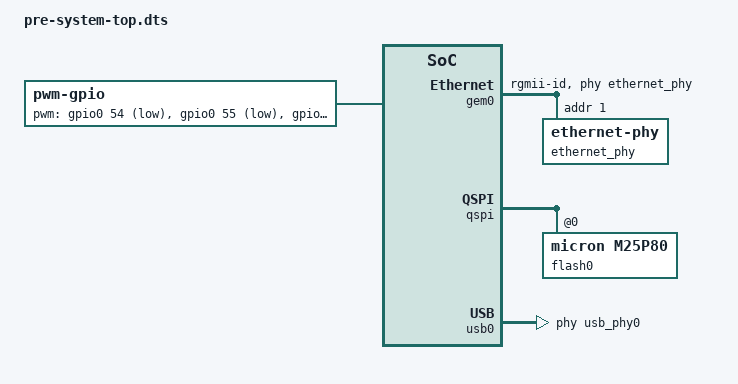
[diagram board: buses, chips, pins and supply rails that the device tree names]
# 1 "/home/yunwu/workspaces/gitworkspace/arty-z7/Digilent-Arty-Z7-Linux-BD-v2016.2/subsystems/linux/configs/device-tree/system-top.dts"
# 1 "<built-in>"
# 1 "<command-line>"
# 1 "/home/yunwu/workspaces/gitworkspace/arty-z7/Digilent-Arty-Z7-Linux-BD-v2016.2/subsystems/linux/configs/device-tree/system-top.dts"
/dts-v1/;
/include/ "system-conf.dtsi"
# 1 "/opt/petalinux/petalinux-v2016.2-final/components//linux-kernel/xlnx-4.4/include/dt-bindings/gpio/gpio.h" 1
# 4 "/home/yunwu/workspaces/gitworkspace/arty-z7/Digilent-Arty-Z7-Linux-BD-v2016.2/subsystems/linux/configs/device-tree/system-top.dts" 2
/ {
 pwm: pwm@0 {
  compatible = "pwm-gpio";
  #pwm-cells = <3>;
  pwm-gpios =
   <&gpio0 54 1>,
   <&gpio0 55 1>,
   <&gpio0 56 1>,
   <&gpio0 57 1>,
   <&gpio0 58 1>,
   <&gpio0 59 1>;
 };

 usb_phy0: usb_phy@0 {
  compatible = "ulpi-phy";
  #phy-cells = <0>;
  reg = <0xe0002000 0x1000>;
  view-port = <0x0170>;
  drv-vbus;
 };
};

&amba {
 u-boot,dm-pre-reloc;
};

&amba_pl {
 encoder_0: digilent_encoder {
  compatible = "dglnt,drm-encoder";
  dglnt,edid-i2c = <&i2c0>;
 };

 xilinx_drm {
  compatible = "xlnx,drm";
  xlnx,vtc = <&v_tc_0>;
  xlnx,connector-type = "HDMIA";
  xlnx,encoder-slave = <&encoder_0>;
  clocks = <&axi_dynclk_0>;
  planes {
   xlnx,pixel-format = "xrgb8888";
   plane0 {
    dmas = <&axi_vdma_0 0>;
    dma-names = "dma";
   };
  };
 };
};

&axi_dynclk_0 {
 compatible = "digilent,axi-dynclk";
 #clock-cells = <0>;
 clocks = <&clkc 15>;
};

&gem0 {
 phy-mode = "rgmii-id";
 phy-handle = <&ethernet_phy>;

 ethernet_phy: ethernet-phy@0 {
  reg = <1>;
 };
};

&qspi {
 flash0: flash@0 {
  compatible = "micron,m25p80", "s25fl128s";
 };
};

&usb0 {
 usb-phy = <&usb_phy0>;
 /delete-property/ usb-reset;
};

&v_tc_0 {
 compatible = "xlnx,v-tc-5.01.a";
};

&xadc_wiz_0 {
 compatible = "xlnx,axi-xadc-1.00.a";
 clocks = <&clkc 12>;
 xlnx,channels {
  #address-cells = <1>;
  #size-cells = <0>;
  channel@0 {
   reg = <1>;
  };
  channel@1 {
   reg = <2>;
  };
  channel@5 {
   reg = <6>;
  };
  channel@6 {
   reg = <7>;
  };
  channel@8 {
   reg = <9>;
  };
  channel@9 {
   reg = <10>;
  };
  channel@12 {
   reg = <13>;
  };
  channel@13 {
   reg = <14>;
  };
  channel@15 {
   reg = <16>;
  };
 };
};
